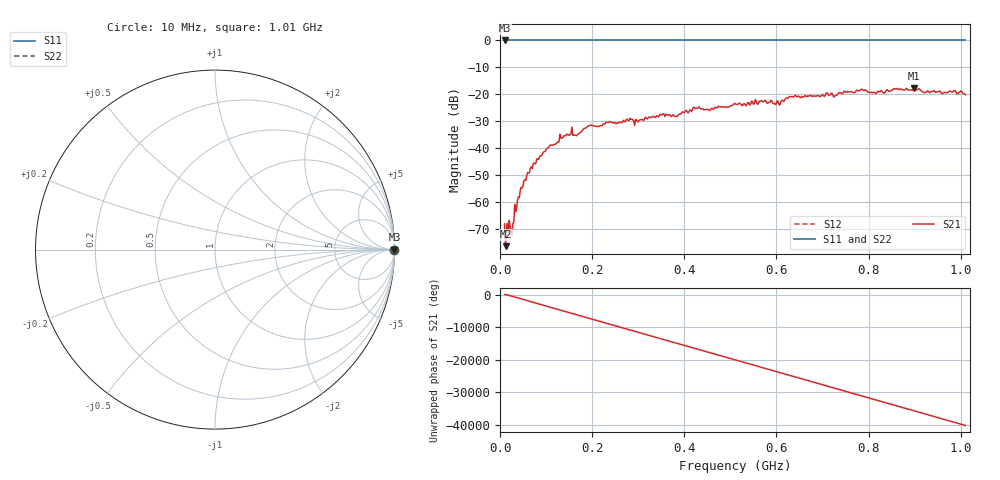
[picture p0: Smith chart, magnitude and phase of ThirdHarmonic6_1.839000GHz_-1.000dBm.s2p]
! 8/16/2025 10:16:01 PM
! C:\ANRITSUVNA\TEMP\TEMP.S2P
! CHANNEL.1
! TR.MEASUREMENT
! RAW.DATA
! RF.CORRECTION.OFF
! AVERAGING.OFF
! IF.BANDWIDTH: 5KHZ
! SWEEPTYPE:  FREQ.SWEEP(Linear)
! Reference Plane Port Info
! PORT:  PORT1  PORT2
! DISTANCE:  0  m  0  m
! TIME:  0  s  0  s
! PHASE.OFFSET:  0  deg.  0  deg.
! LOSS:  0  dB  0  dB
! REF.LOSS:  0  dB  0  dB
! REF.FREQ:  0  Hz  0  Hz
! Power Info
! POWER:  -20  dBm  -20  dBm
! EFF.POWER:  -20  dBm  -20  dBm
! SOURCE.ATTEN:  0  dB  0  dB
! TEST.ATTEN:  0  dB  0  dB
# GHZ S RI R 50.0
! FREQ.GHZ  S11RE  S11IM  S21RE  S21IM  S12RE  S12IM  S22RE  S22IM
!; PortSelection: Port_12
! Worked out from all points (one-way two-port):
!   501 points, 10 MHz to 1.01 GHz, reference 50 ohm
!   highest |S21| = -17.64 dB at 898 MHz (marker M1); lowest = -76.2 dB at 12 MHz (marker M2)
!   lowest |S11| = 0.0 dB at 10 MHz (marker M3)
!   |S11| at or under -10 dB: nowhere
!   |S22| runs from 0.0 to 0.0 dB; largest |S21 - S12| = 1.1
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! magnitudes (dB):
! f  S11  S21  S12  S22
! 10 MHz  0.0  -67.9  0.0  0.0
! 12 MHz  0.0  -76.2  0.0  0.0
! 26 MHz  0.0  -72.1  0.0  0.0
! 42 MHz  0.0  -58.2  0.0  0.0
! 70 MHz  0.0  -47.4  0.0  0.0
! 106 MHz  0.0  -39.5  0.0  0.0
! 134 MHz  0.0  -36.1  0.0  0.0
! 178 MHz  0.0  -33.4  0.0  0.0
! 194 MHz  0.0  -31.5  0.0  0.0
! 280 MHz  0.0  -29.7  0.0  0.0
! 296 MHz  0.0  -29.2  0.0  0.0
! 344 MHz  0.0  -28.3  0.0  0.0
! 382 MHz  0.0  -28.1  0.0  0.0
! 422 MHz  0.0  -24.9  0.0  0.0
! 452 MHz  0.0  -25.6  0.0  0.0
! 510 MHz  0.0  -23.3  0.0  0.0
! 596 MHz  0.0  -23.3  0.0  0.0
! 630 MHz  0.0  -20.8  0.0  0.0
! 678 MHz  0.0  -20.8  0.0  0.0
! 844 MHz  0.0  -18.8  0.0  0.0
! 898 MHz  0.0  -17.6  0.0  0.0
! 1.01 GHz  0.0  -20.1  0.0  0.0
